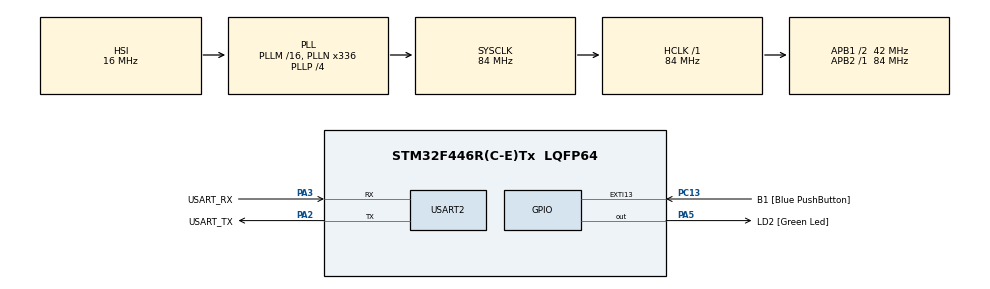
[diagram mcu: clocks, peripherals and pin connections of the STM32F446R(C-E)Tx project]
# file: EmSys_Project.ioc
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Mcu.Family=STM32F4
Mcu.Name=STM32F446R(C-E)Tx
Mcu.Package=LQFP64
NVIC.PriorityGroup=NVIC_PRIORITYGROUP_0
PA13.GPIO_Label=TMS
PA13.Mode=Serial_Wire
PA13.Signal=SYS_JTMS-SWDIO
PA14.GPIO_Label=TCK
PA14.Mode=Serial_Wire
PA14.Signal=SYS_JTCK-SWCLK
PA2.GPIO_Label=USART_TX
PA2.Mode=Asynchronous
PA2.Signal=USART2_TX
PA3.GPIO_Label=USART_RX
PA3.Mode=Asynchronous
PA3.Signal=USART2_RX
PA5.GPIO_Label=LD2 [Green Led]
PA5.Signal=GPIO_Output
PB3.GPIO_Label=SWO
PB3.Signal=SYS_JTDO-SWO
PC13.GPIO_Label=B1 [Blue PushButton]
PC13.GPIO_ModeDefaultEXTI=GPIO_MODE_IT_FALLING
PC13.Signal=GPXTI13
PC14-OSC32_IN.Mode=LSE-External-Oscillator
PC14-OSC32_IN.Signal=RCC_OSC32_IN
PC15-OSC32_OUT.Mode=LSE-External-Oscillator
PC15-OSC32_OUT.Signal=RCC_OSC32_OUT
PH0-OSC_IN.Mode=HSE-External-Oscillator
PH0-OSC_IN.Signal=RCC_OSC_IN
PH1-OSC_OUT.Mode=HSE-External-Oscillator
PH1-OSC_OUT.Signal=RCC_OSC_OUT
ProjectManager.HeapSize=0x200
ProjectManager.StackSize=0x400
ProjectManager.TargetToolchain=STM32CubeIDE
RCC.48MHZClocksFreq_Value=84000000
RCC.AHBFreq_Value=84000000
RCC.APB1CLKDivider=RCC_HCLK_DIV2
RCC.APB1Freq_Value=42000000
RCC.APB1TimFreq_Value=84000000
RCC.APB2Freq_Value=84000000
RCC.APB2TimFreq_Value=84000000
RCC.CortexFreq_Value=84000000
RCC.FLatency-AdvancedSettings=FLASH_LATENCY_2
RCC.HCLKFreq_Value=84000000
RCC.HSE_VALUE=8000000
RCC.HSI_VALUE=16000000
RCC.PLLN=336
RCC.PLLP=RCC_PLLP_DIV4
RCC.SYSCLKFreq_VALUE=84000000
RCC.SYSCLKSource=RCC_SYSCLKSOURCE_PLLCLK
RCC.USBFreq_Value=168000000
RCC.VCOOutputFreq_Value=336000000
USART2.VirtualMode=VM_ASYNC
board=NUCLEO-F446RE

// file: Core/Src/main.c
/* USER CODE BEGIN Header */
/**
  ******************************************************************************
  * @file           : main.c
  * @brief          : Main program body
  ******************************************************************************
  * @attention
  *
  * Copyright (c) 2025 STMicroelectronics.
  * All rights reserved.
  *
  * This software is licensed under terms that can be found in the LICENSE file
  * in the root directory of this software component.
  * If no LICENSE file comes with this software, it is provided AS-IS.
  *
  ******************************************************************************
  */
/* USER CODE END Header */
#include "main.h"

/* USER CODE BEGIN Includes */
#include <stdbool.h>
/* USER CODE END Includes */

/* USER CODE BEGIN PD */
#define MAX_VOLTS 5
#define ADC_MAX_VALUE 4095
/* USER CODE END PD */

UART_HandleTypeDef huart2;

/* USER CODE BEGIN PV */
volatile uint16_t adc_value;
volatile float voltage_value;
const char *voltage_value_string[10];
bool is_data_available = false;
/* USER CODE END PV */

void SystemClock_Config(void);
static void MX_GPIO_Init(void);
static void MX_USART2_UART_Init(void);

/* USER CODE BEGIN 0 */
void FPU_Init(void){
	// for fpu
	SCB->CPACR |= ((3UL << 10*2) | (3UL << 11*2));
	__DSB();
	__ISB();
}

void Clocks_Init(void){
	// enable clocks
	RCC->AHB1ENR |= RCC_AHB1ENR_GPIOAEN;   // GPIOA clock
	RCC->APB2ENR |= RCC_APB2ENR_ADC1EN;    // ADC1 clock
	RCC->AHB1ENR |= RCC_AHB1ENR_GPIOBEN;   // GPIOB clock
	RCC->APB1ENR |= RCC_APB1ENR_I2C1EN;    // I2C1 clock
}

void ADC_Init(void){
	GPIOA->MODER &= ~(0x3 << 0); // clear MODER0
	GPIOA->MODER |= (0x3 << 0);  // set PA0 as ADC (Analog mode)

	ADC->CCR &= ~(0x3 << 16);;    // clear prescaler bits
	ADC->CCR |= (0x1 << 16);     // set prescaler to 01 (divide by 4 so the ADC clock is <= 36MH)
	ADC1->CR1 &= ~(0x3 << 24);    // set 12 bit resolution
	ADC1->CR1 |= ADC_CR1_EOCIE;  // enable adc end of conversion interrupt
	ADC1->SMPR2 &= ~(0x7 << 0);  // clear SMP0 (sample time reg)
	ADC1->SMPR2 |=  (0x1 << 0);  // set SMP0 to '001' (15 cycles needed by resolution)
	ADC1->SQR3 = 0;              // select channel 0
	ADC1->CR2 |= ADC_CR2_ADON |ADC_CR2_CONT;   // enable adc and set continuous mode
}

void ADC_Read(void){
	if (ADC1->SR & ADC_SR_EOC)
		adc_value = ADC1->DR; // Read result and clear EOC
}

void I2C1_Init(void){
	GPIOB->MODER &= ~((0x3 << 16) | (0x3 << 18)); // clear PB8 & PB9;
	GPIOB->MODER |= (0x2 << 16) | (0x2 << 18);   // set PB8 & PB9 to alternate function (I2C);

	GPIOB->AFR[1] &= ~((0xF << 0) | (0xF << 4)); // clear Alternate Function 4 regs
	GPIOB->AFR[1] |= (0x4 << 0) | (0x4 << 4);   // set Alternate Function 4 (I2C)

	GPIOB->OTYPER |= (0x1 << 16) | (0x1 << 18);  // set output type to open-drain for i2c protocol
	GPIOB->PUPDR &= ~((0x3 << 16) | (0x3 << 18)); // clear pull up pull down regs
	GPIOB->PUPDR |= (0x1 << 16) | (0x1 << 18);   // set pull up

	I2C1->CR2 &= ~(0x3F << 0);   // clear FREQ
	I2C1->CR2 |=  (0x10 << 0);   // set 16 MHz

	I2C1->CCR &= ~(0xFFF << 0);  // clear CCR
	I2C1->CCR |=  (0x50 << 0);   // set 100 KHz

	I2C1->TRISE &= ~(0x3F << 0); // clear TRISE[5:0]
	I2C1->TRISE |=  (0x11 << 0); // set TRISE 11

	I2C1->CR1 |= I2C_CR1_PE; // enable I2C
}

void I2C1_write(uint8_t addr, uint8_t data){
	 // Start condition
	I2C1->CR1 |= I2C_CR1_START;
	while (!(I2C1->SR1 & I2C_SR1_SB)); // Wait for start

	// Send address
	(void)I2C1->SR1;      // Clear SB
	I2C1->DR = addr << 1; // Write mode
	while (!(I2C1->SR1 & I2C_SR1_ADDR));
	(void)I2C1->SR2; // Clear ADDR

	// Send data
	while (!(I2C1->SR1 & I2C_SR1_TXE));
	I2C1->DR = data;
	while (!(I2C1->SR1 & I2C_SR1_BTF)); // Wait for byte transfer

	// Stop condition
	I2C1->CR1 |= I2C_CR1_STOP;
}

void LCD_send_command(uint8_t cmd){
    uint8_t high = (cmd & 0xF0);
    uint8_t low  = (cmd << 4) & 0xF0;

    // Send high nibble
    I2C1_write(0x27, high | 0x08); // RS=0, EN=0
    I2C1_write(0x27, high | 0x0C); // RS=0, EN=1
    for (volatile int i = 0; i < 1000; i++);
    I2C1_write(0x27, high | 0x08); // RS=0, EN=0

    // Send low nibble
    I2C1_write(0x27, low | 0x08);
    I2C1_write(0x27, low | 0x0C);
    for (volatile int i = 0; i < 1000; i++);
    I2C1_write(0x27, low | 0x08);
}

void LCD_Init(void){
	LCD_send_command(0x33); // Init
	LCD_send_command(0x32); // 4-bit mode
	LCD_send_command(0x28); // 2-line, 5x8 font
	LCD_send_command(0x0C); // Display ON, cursor OFF
	LCD_send_command(0x06); // Entry mode
	LCD_send_command(0x01); // Clear display
}

void LCD_send_data(uint8_t data){
    uint8_t high = (data & 0xF0);
    uint8_t low  = (data << 4) & 0xF0;

    // Send high nibble
    I2C1_write(0x27, high | 0x09); // RS=1, EN=0
    I2C1_write(0x27, high | 0x0D); // RS=1, EN=1
    for (volatile int i = 0; i < 1000; i++);
    I2C1_write(0x27, high | 0x09); // RS=1, EN=0

    // Send low nibble
    I2C1_write(0x27, low | 0x09);
    I2C1_write(0x27, low | 0x0D);
    for (volatile int i = 0; i < 1000; i++);
    I2C1_write(0x27, low | 0x09);
}

void LCD_send_string(char *str){
    while (*str){
        LCD_send_data(*str++);
    }
}

void LCD_set_cursor(uint8_t row, uint8_t col){
    uint8_t row_offsets[] = {0x00, 0x40, 0x14, 0x54}; // DDRAM addresses for each row
    LCD_send_command(0x80 | (row_offsets[row] + col));
}

void LCD_DebugHelloWorld(void){
    LCD_set_cursor(0, 0);
    LCD_send_string("Hello Amazing World");

    LCD_set_cursor(1, 0);
    LCD_send_string("Hello Amazing World");

    LCD_set_cursor(2, 0);
    LCD_send_string("Hello Amazing World");

    LCD_set_cursor(3, 0);
    LCD_send_string("Hello Amazing World");
}

/* USER CODE END 0 */

int main(void)
{

  /* MCU Configuration--------------------------------------------------------*/

  /* Reset of all peripherals, Initializes the Flash interface and the Systick. */
  HAL_Init();

  /* Configure the system clock */
  SystemClock_Config();

  /* Initialize all configured peripherals */
  MX_GPIO_Init();
  MX_USART2_UART_Init();
  /* USER CODE BEGIN 2 */
  	FPU_Init();
  	Clocks_Init();
  	ADC_Init();
  	I2C1_Init();
  	LCD_Init();

  	ADC1->CR2 |= ADC_CR2_SWSTART; // start conversion

  	LCD_send_command(0x01); // Clear display
  	for (volatile int i = 0; i < 10000; i++);
  	LCD_set_cursor(0, 2);
  	LCD_send_string("VOLTMETER SCREEN");
//  	LCD_DebugHelloWorld();
  /* USER CODE END 2 */

  /* Infinite loop */
  /* USER CODE BEGIN WHILE */
  while (1){
	ADC_Read();
	voltage_value = ((float)(adc_value) * MAX_VOLTS) / ADC_MAX_VALUE;  // convert value
	const char *voltage_value_string[10];
	uint16_t voltage_mV = (uint16_t)(voltage_value * 1000);  // Convert to millivolts
	sprintf(voltage_value_string, "%u.%02uV", voltage_mV / 1000, (voltage_mV % 1000) / 10);
	LCD_set_cursor(2, 3);
	LCD_send_string("Voltage: ");
	LCD_send_string(voltage_value_string);
    /* USER CODE END WHILE */

  }
}

void SystemClock_Config(void)
{
  RCC_OscInitTypeDef RCC_OscInitStruct = {0};
  RCC_ClkInitTypeDef RCC_ClkInitStruct = {0};

  /** Configure the main internal regulator output voltage
  */
  __HAL_RCC_PWR_CLK_ENABLE();
  __HAL_PWR_VOLTAGESCALING_CONFIG(PWR_REGULATOR_VOLTAGE_SCALE3);

  /** Initializes the RCC Oscillators according to the specified parameters
  * in the RCC_OscInitTypeDef structure.
  */
  RCC_OscInitStruct.OscillatorType = RCC_OSCILLATORTYPE_HSI;
  RCC_OscInitStruct.HSIState = RCC_HSI_ON;
  RCC_OscInitStruct.HSICalibrationValue = RCC_HSICALIBRATION_DEFAULT;
  RCC_OscInitStruct.PLL.PLLState = RCC_PLL_ON;
  RCC_OscInitStruct.PLL.PLLSource = RCC_PLLSOURCE_HSI;
  RCC_OscInitStruct.PLL.PLLM = 16;
  RCC_OscInitStruct.PLL.PLLN = 336;
  RCC_OscInitStruct.PLL.PLLP = RCC_PLLP_DIV4;
  RCC_OscInitStruct.PLL.PLLQ = 2;
  RCC_OscInitStruct.PLL.PLLR = 2;
  if (HAL_RCC_OscConfig(&RCC_OscInitStruct) != HAL_OK)
  {
    Error_Handler();
  }

  /** Initializes the CPU, AHB and APB buses clocks
  */
  RCC_ClkInitStruct.ClockType = RCC_CLOCKTYPE_HCLK|RCC_CLOCKTYPE_SYSCLK
                              |RCC_CLOCKTYPE_PCLK1|RCC_CLOCKTYPE_PCLK2;
  RCC_ClkInitStruct.SYSCLKSource = RCC_SYSCLKSOURCE_PLLCLK;
  RCC_ClkInitStruct.AHBCLKDivider = RCC_SYSCLK_DIV1;
  RCC_ClkInitStruct.APB1CLKDivider = RCC_HCLK_DIV2;
  RCC_ClkInitStruct.APB2CLKDivider = RCC_HCLK_DIV1;

  if (HAL_RCC_ClockConfig(&RCC_ClkInitStruct, FLASH_LATENCY_2) != HAL_OK)
  {
    Error_Handler();
  }
}

static void MX_USART2_UART_Init(void)
{

  huart2.Instance = USART2;
  huart2.Init.BaudRate = 115200;
  huart2.Init.WordLength = UART_WORDLENGTH_8B;
  huart2.Init.StopBits = UART_STOPBITS_1;
  huart2.Init.Parity = UART_PARITY_NONE;
  huart2.Init.Mode = UART_MODE_TX_RX;
  huart2.Init.HwFlowCtl = UART_HWCONTROL_NONE;
  huart2.Init.OverSampling = UART_OVERSAMPLING_16;
  if (HAL_UART_Init(&huart2) != HAL_OK)
  {
    Error_Handler();
  }

}

static void MX_GPIO_Init(void)
{
  GPIO_InitTypeDef GPIO_InitStruct = {0};

  /* GPIO Ports Clock Enable */
  __HAL_RCC_GPIOC_CLK_ENABLE();
  __HAL_RCC_GPIOH_CLK_ENABLE();
  __HAL_RCC_GPIOA_CLK_ENABLE();
  __HAL_RCC_GPIOB_CLK_ENABLE();

  /*Configure GPIO pin Output Level */
  HAL_GPIO_WritePin(LD2_GPIO_Port, LD2_Pin, GPIO_PIN_RESET);

  /*Configure GPIO pin : B1_Pin */
  GPIO_InitStruct.Pin = B1_Pin;
  GPIO_InitStruct.Mode = GPIO_MODE_IT_FALLING;
  GPIO_InitStruct.Pull = GPIO_NOPULL;
  HAL_GPIO_Init(B1_GPIO_Port, &GPIO_InitStruct);

  /*Configure GPIO pin : LD2_Pin */
  GPIO_InitStruct.Pin = LD2_Pin;
  GPIO_InitStruct.Mode = GPIO_MODE_OUTPUT_PP;
  GPIO_InitStruct.Pull = GPIO_NOPULL;
  GPIO_InitStruct.Speed = GPIO_SPEED_FREQ_LOW;
  HAL_GPIO_Init(LD2_GPIO_Port, &GPIO_InitStruct);

}

void Error_Handler(void)
{
  __disable_irq();
  while (1)
  {
  }
}
